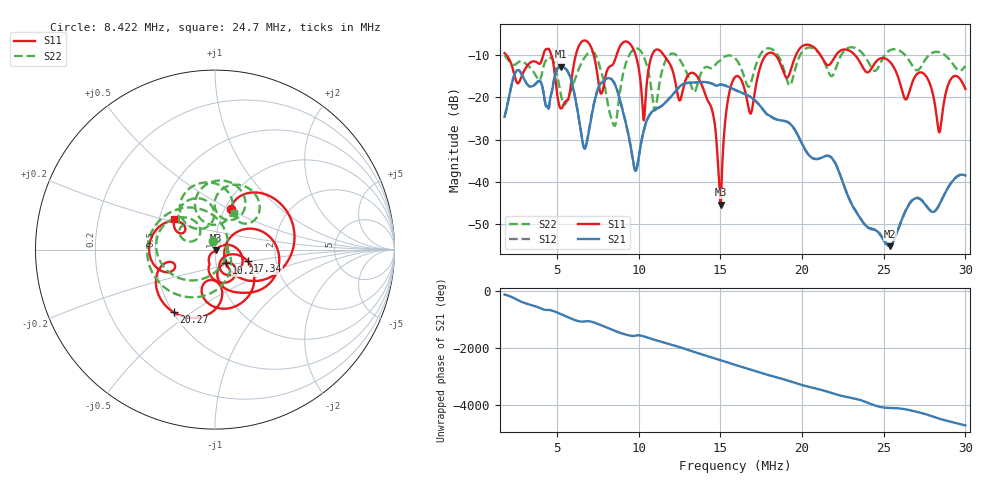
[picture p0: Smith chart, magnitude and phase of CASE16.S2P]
!Agilent Technologies,E5061B,MY49101568,A.02.00
!Date: Wed Mar 01 12:40:17 2023
!Data & Calibration Information:
!Freq	S11:SOLT2(OFF)	S21:SOLT2(OFF)	S12:SOLT2(OFF)	S22:SOLT2(OFF)
# Hz S dB R 50
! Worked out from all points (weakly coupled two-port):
!   1155 points, 1.8 MHz to 30 MHz, reference 50 ohm
!   highest |S21| = -12.79 dB at 5.246 MHz (marker M1); lowest = -55.2 dB at 25.38 MHz (marker M2)
!   lowest |S11| = -45.4 dB at 15.02 MHz (marker M3), VSWR 1.01, Z = 50.4 - j0.329 ohm
!   |S11| at or under -10 dB: 1.904 MHz to 4.165 MHz (2.261 MHz wide, 74.5 % of centre); 11.54 MHz to 17.8 MHz (6.264 MHz wide, 42.7 % of centre); 23.24 MHz to end of sweep (the widest 3 of 8)
!   |S22| runs from -26.8 to -8.2 dB; largest |S21 - S12| = 0.0024
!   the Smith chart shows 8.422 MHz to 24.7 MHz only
!   S11 on the Smith chart (normalised r, x): 8.422 MHz: 1.07, +0.52; 10.21 MHz: 1.12, -0.17; 17.34 MHz: 1.43, -0.19; 20.27 MHz: 0.50, -0.43; 24.7 MHz: 0.60, +0.22
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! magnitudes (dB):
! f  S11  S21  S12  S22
! 1.8 MHz  -9.6  -24.6  -24.6  -10.1
! 2.606 MHz  -16.7  -13.6  -13.5  -11.8
! 4.488 MHz  -8.5  -22.7  -22.6  -10.7
! 5.246 MHz  -22.7  -12.8  -12.8  -19.4
! 6.516 MHz  -6.9  -29.3  -29.2  -11.8
! 7.714 MHz  -19.1  -16.6  -16.6  -14.0
! 8.422 MHz  -12.3  -16.1  -16.0  -26.1
! 9.766 MHz  -9.4  -37.0  -37.2  -8.5
! 10.21 MHz  -20.1  -29.7  -29.7  -9.5
! 11.21 MHz  -8.7  -22.5  -22.6  -18.4
! 13.82 MHz  -16.7  -16.4  -16.4  -14.3
! 15.02 MHz  -45.4  -17.0  -17.0  -11.2
! 15.9 MHz  -15.2  -18.2  -18.3  -10.8
! 16.85 MHz  -23.9  -19.9  -19.9  -16.8
! 17.34 MHz  -14.3  -21.6  -21.7  -10.7
! 20.27 MHz  -7.6  -32.9  -32.9  -8.4
! 20.62 MHz  -7.9  -34.3  -34.3  -8.3
! 24.7 MHz  -11.0  -52.0  -51.9  -12.7
! 25.31 MHz  -11.4  -55.1  -54.9  -9.1
! 25.38 MHz  -11.6  -55.2  -54.9  -8.9
! 28.39 MHz  -28.2  -45.5  -45.5  -9.3
! 30 MHz  -18.0  -38.5  -38.4  -12.6
